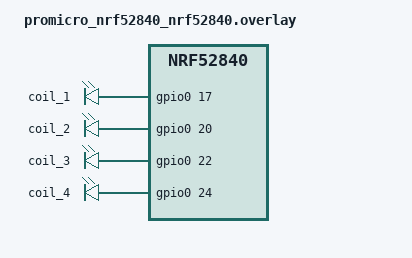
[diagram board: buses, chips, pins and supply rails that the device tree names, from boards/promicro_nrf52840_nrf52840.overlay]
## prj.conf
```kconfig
CONFIG_GPIO=y

CONFIG_BUILD_OUTPUT_UF2=y
CONFIG_FLASH_LOAD_OFFSET=0x1000

CONFIG_STDOUT_CONSOLE=y
CONFIG_PRINTK=y
```

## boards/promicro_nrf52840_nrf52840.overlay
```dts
/ {
  stepper_motors: stepper_motors{
    compatible = "gpio-leds";

    coil_1: coil_1 {
      gpios = <&gpio0 17 GPIO_ACTIVE_HIGH>;
    };

    coil_2: coil_2 {
      gpios = <&gpio0 20 GPIO_ACTIVE_HIGH>;
    };

    coil_3: coil_3 {
      gpios = <&gpio0 22 GPIO_ACTIVE_HIGH>;
    };

    coil_4: coil_4 {
      gpios = <&gpio0 24 GPIO_ACTIVE_HIGH>;
    };

  };
};

&gpio0 {
    status = "okay";
};
```

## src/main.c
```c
#include <zephyr/drivers/gpio.h>
#include <zephyr/kernel.h>
#include <zephyr/sys/printk.h>

// define coils
#define COIL_1 DT_NODELABEL(coil_1)
#define COIL_2 DT_NODELABEL(coil_2)
#define COIL_3 DT_NODELABEL(coil_3)
#define COIL_4 DT_NODELABEL(coil_4)

// constant for sleep time
#define SLEEP_TIME 10
// constant of number of turns on coil
#define NUM_TURNS 300

// Create array of gpio pins
static const struct gpio_dt_spec coils[] = {
    GPIO_DT_SPEC_GET(COIL_1, gpios), GPIO_DT_SPEC_GET(COIL_2, gpios),
    GPIO_DT_SPEC_GET(COIL_3, gpios), GPIO_DT_SPEC_GET(COIL_4, gpios)};

const struct device *gpio0 = DEVICE_DT_GET(DT_NODELABEL(gpio0));
const struct device *gpio1 = DEVICE_DT_GET(DT_NODELABEL(gpio1));

int current_sleep = 203;
// when to ramp down speed
int ramp_down_step = (NUM_TURNS * 200) - 200;

void set_pins(int pin1, int pin2, int pin3, int pin4) {
  // args: takes pins 1-4 with which are activated
      gpio_pin_set_dt(&coils[0], pin1);
      gpio_pin_set_dt(&coils[1], pin2);
      gpio_pin_set_dt(&coils[2], pin3);
      gpio_pin_set_dt(&coils[3], pin4);
}

int main(void) {

  /* Configure Candidates */
  gpio_pin_configure(gpio0, 17, GPIO_OUTPUT);
  gpio_pin_configure(gpio0, 20, GPIO_OUTPUT);
  gpio_pin_configure(gpio0, 22, GPIO_OUTPUT);
  gpio_pin_configure(gpio0, 24, GPIO_OUTPUT);

  printk("Starting...\n");
  // check that all pins are ready
  printk("Checking GPIO pins are ready...\n");
  int num_coils = 4;
  printk("You are driving %d coils", num_coils);
  for (int i = 0; i < num_coils; i++) {
    // go through all pin indexes
    if (!gpio_is_ready_dt(&coils[i])) {
      // issue with this coil pin
      printk("Pin %d is not ready\n", i);
      return 0;
    }
  }
  printk("All pins are ready! starting driving GPIO...\n");

  // count number of steps so we can count the full rotation.
  int num_rotations = 0;
  int step = 0;
  int current_pin = 0;
  int total_step = 0;

  // wait for a second after plugging in usb to get ready
  k_msleep(1000);
  while (1) {
    printk("Current step is %d the current pin we are driving is %d and we are "
           "on rotation %d\n",
           step, current_pin, num_rotations);
    // cycle through pins and turn current on and the rest off
    switch (current_pin) {
    case 0:
        set_pins(1,0,0,0);
      break;
    case 1:
        set_pins(0,0,1,0);
      break;
    case 2:
        set_pins(0,1,0,0);
      break;
    case 3:
        set_pins(0,0,0,1);
      break;
    }

    current_pin++;
    total_step++;
    step++;
    if (current_pin >= 4) {
      current_pin = 0;
    }
    if (step == 200) {
      // number of steps for a max rotation
      num_rotations++;
      step = 0;
    }
    if (NUM_TURNS == num_rotations) {
      printk("Finished rotating %d times\n", NUM_TURNS);
      set_pins(0,0,0,0);
      return 0;
    }

    // speed up or ramp down
    k_msleep(current_sleep);
    // if this is the first 100 steps then speed up
    // reduce sleep time by 100
    if (total_step <= 200){
      current_sleep--;
    }
    // if this is the last 100 steps ramp down
    else if (total_step >= ramp_down_step){
      current_sleep++;
    }
  }

  return 0;
}
```
